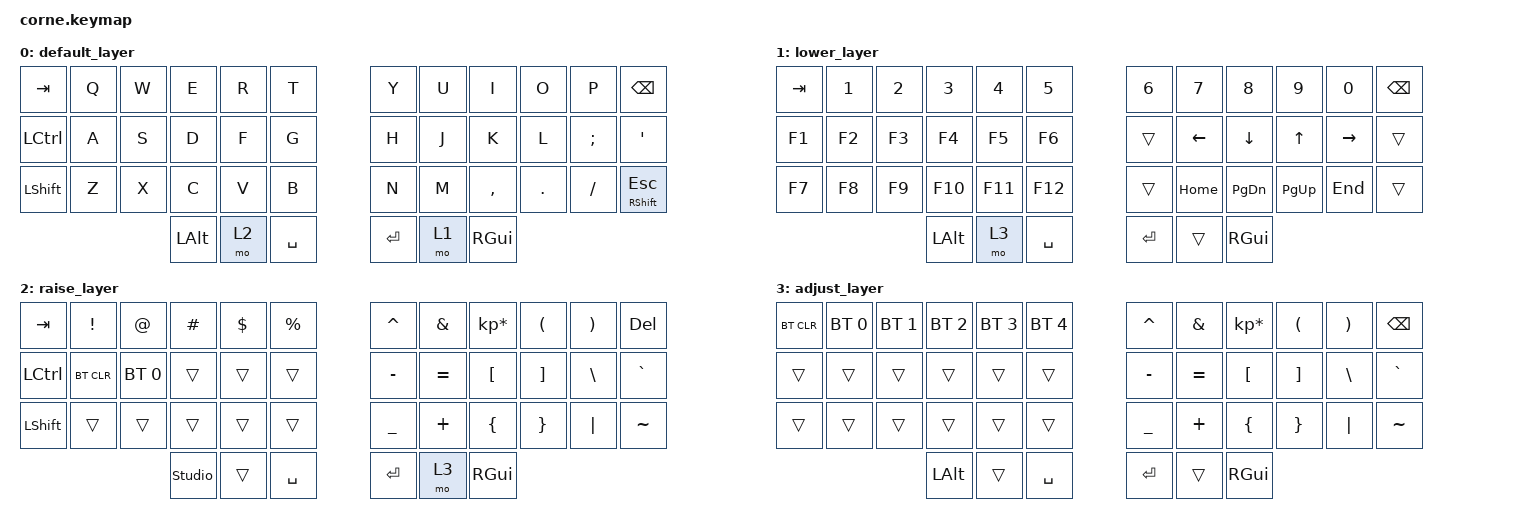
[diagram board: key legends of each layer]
/*
* Copyright (c) 2020 The ZMK Contributors
*
* SPDX-License-Identifier: MIT
*/

#include <behaviors.dtsi>
#include <dt-bindings/zmk/keys.h>
#include <dt-bindings/zmk/bt.h>

/ {
	keymap {
		compatible = "zmk,keymap";
		
		default_layer {
			
                        /*
                         * Keymap Layout:
                         * 
                         * Layer 0 (Base Layer):
                         * ┌───────────┬─────┬─────┬─────┬─────┬─────┐             ┌─────┬─────┬─────┬─────┬─────┬───────────┐
                         * │           │ TAB │  Q  │  W  │  E  │  R  │             │  T  │  Y  │  U  │  I  │  O  │  BACKSPACE │
                         * ├───────────┼─────┼─────┼─────┼─────┼─────┤             ├─────┼─────┼─────┼─────┼─────┼───────────┤
                         * │ Left Ctrl │  A  │  S  │  D  │  F  │  G  │             │  H  │  J  │  K  │  L  │  ;  │     '     │
                         * ├───────────┼─────┼─────┼─────┼─────┼─────┤             ├─────┼─────┼─────┼─────┼─────┼───────────┤
                         * │ Left Shift│  Z  │  X  │  C  │  V  │  B  │             │  N  │  M  │  ,  │  .  │  /  │ RShift+ESC │
                         * ├───────────┼─────┼─────┼─────────────────┤             ├─────────────────┼─────┼─────┼───────────┤
                         * │ Left Alt  │ MO2 │           SPACE       │             │  RET │ MO1 │ RGUI │
                         * └───────────┴─────┴───────────────────────┘             └─────────────────┴─────┴─────┘
                         * 
                         * Legend:
                         * - `&kp <key>`: Sends a key press for the specified key.
                         * - `&mo <layer>`: Momentarily activates the specified layer while held.
                         * - `&mt <mod> <key>`: Sends the key when tapped, or acts as the modifier when held.
                         */
			bindings = <
			&kp TAB   &kp Q &kp W &kp E &kp R &kp T   &kp Y &kp U  &kp I     &kp O   &kp P    &kp BSPC
			&kp LCTRL &kp A &kp S &kp D &kp F &kp G   &kp H &kp J  &kp K     &kp L   &kp SEMI &kp SQT
			&kp LSHFT &kp Z &kp X &kp C &kp V &kp B   &kp N &kp M  &kp COMMA &kp DOT &kp FSLH &mt RSHIFT ESC
			&kp LALT &mo 2 &kp SPACE   &kp RET &mo 1 &kp RIGHT_GUI
			>;
		};
                /*
                 * Keymap Layer: Lower Layer
                 * This layer is designed for a split Corne (CRKBD) keyboard.
                 * 
                 * Layer Layout:
                 * ┌─────┬─────┬─────┬─────┬─────┬─────┐             ┌─────┬─────┬─────┬─────┬─────┬─────┐
                 * │ TAB │  1  │  2  │  3  │  4  │  5  │             │  6  │  7  │  8  │  9  │  0  │ BSPC│
                 * ├─────┼─────┼─────┼─────┼─────┼─────┤             ├─────┼─────┼─────┼─────┼─────┼─────┤
                 * │ F1  │ F2  │ F3  │ F4  │ F5  │ F6  │             │     │LEFT │DOWN │ UP  │RIGHT│     │
                 * ├─────┼─────┼─────┼─────┼─────┼─────┤             ├─────┼─────┼─────┼─────┼─────┼─────┤
                 * │ F7  │ F8  │ F9  │ F10 │ F11 │ F12 │             │     │HOME │PGDN │PGUP │ END │     │
                 * ├─────┼─────┼─────┼─────────────────┤             ├─────────────────┼─────┼─────┼─────┤
                 * │ LALT│ MO3 │         SPACE         │             │  RET│     │     │
                 * └─────┴─────┴───────────────────────┘             └─────────────────┴─────┴─────┘
                 * 
                 * Notes:
                 * - The `trans` keyword represents a transparent key, which falls through to the lower layer.
                 * - The `mo 3` key activates Layer 3 momentarily while held.
                 * - This layout is optimized for navigation and function key access on the lower layer.
                 */
		lower_layer {
			
			bindings = <
			&kp TAB    &kp N1       &kp N2       &kp N3       &kp N4       &kp N5         &kp N6   &kp N7   &kp N8     &kp N9    &kp N0     &kp BSPC
			&kp F1     &kp F2       &kp F3       &kp F4       &kp F5       &kp F6         &trans   &kp LEFT &kp DOWN   &kp UP    &kp RIGHT  &trans
			&kp F7     &kp F8       &kp F9       &kp F10      &kp F11      &kp F12        &trans   &kp HOME &kp PG_DN  &kp PG_UP &kp END    &trans
			&kp LALT     &mo 3        &kp SPACE       &kp RET  &trans   &kp RIGHT_GUI
			>;
		};
		
                /*
                 * Raise Layer Keymap for Split Corne Keyboard (CRKBD)
                 *
                 * ┌───────┬───────┬───────┬───────┬───────┬───────┐            ┌───────┬───────┬───────┬───────┬───────┬───────┐
                 * │  TAB  │   !   │   @   │   #   │   $   │   %   │            │   ^   │   &   │   *   │   (   │   )   │  DEL  │
                 * ├───────┼───────┼───────┼───────┼───────┼───────┤            ├───────┼───────┼───────┼───────┼───────┼───────┤
                 * │ LCTRL │ BTCLR │ BTSEL0│       │       │       │            │   -   │   =   │   [   │   ]   │   \   │   `   │
                 * ├───────┼───────┼───────┼───────┼───────┼───────┤            ├───────┼───────┼───────┼───────┼───────┼───────┤
                 * │ LSHFT │       │       │       │       │       │            │   _   │   +   │   {   │   }   │   |   │   ~   │
                 * ├───────┴───────┴───────┼───────┼───────┼───────┤            ├───────┼───────┼───────┴───────┴───────┴───────┤
                 * │      Studio Unlock    │ SPACE │  RET  │ MO(3) │            │ RGUI  │
                 * └────────────────────────┴───────┴───────┴───────┘            └───────┘
                 *
                 * Legend:
                 * - BTCLR: Clear Bluetooth pairing
                 * - BTSEL0: Select Bluetooth profile 0
                 * - Studio Unlock: Custom key action (likely specific to your setup)
                 * - MO(3): Momentary switch to layer 3
                 * - RGUI: Right GUI (Windows/Command) key
                 */
		raise_layer {
			
			bindings = <
			&kp  TAB  &kp EXCL &kp AT &kp HASH &kp DLLR &kp PRCNT   &kp CARET &kp AMPS  &kp KP_MULTIPLY &kp LPAR &kp RPAR &kp DEL
			&kp LCTRL &bt BT_CLR  &bt BT_SEL 0 &trans   &trans   &trans      &kp MINUS &kp EQUAL &kp LBKT        &kp RBKT &kp BSLH &kp GRAVE
			&kp LSHFT &trans   &trans &trans   &trans   &trans      &kp UNDER &kp PLUS  &kp LBRC        &kp RBRC &kp PIPE &kp TILDE
			&studio_unlock &trans   &kp SPACE   &kp RET   &mo 3     &kp RIGHT_GUI
			>;
		};
		
                /*
                 * Keymap for the adjust_layer on a split Corne (crkbd) keyboard.
                 * This layer is typically used for system adjustments, Bluetooth controls, and special characters.
                 * 
                 * Layout:
                 * 
                 * ┌──────────┬──────────┬──────────┬──────────┬──────────┬──────────┐             ┌──────────┬──────────┬──────────┬──────────┬──────────┬──────────┐
                 * │ &bt BT_CLR │ &bt BT_SEL 0 │ &bt BT_SEL 1 │ &bt BT_SEL 2 │ &bt BT_SEL 3 │ &bt BT_SEL 4 │             │ &kp CARET│ &kp AMPS │ &kp KP_MULTIPLY │ &kp LPAR │ &kp RPAR │ &kp BSPC │
                 * ├──────────┼──────────┼──────────┼──────────┼──────────┼──────────┤             ├──────────┼──────────┼──────────┼──────────┼──────────┼──────────┤
                 * │ &trans    │ &trans    │ &trans    │ &trans    │ &trans    │ &trans    │             │ &kp MINUS│ &kp EQUAL│ &kp LBKT │ &kp RBKT │ &kp BSLH │ &kp GRAVE │
                 * ├──────────┼──────────┼──────────┼──────────┼──────────┼──────────┤             ├──────────┼──────────┼──────────┼──────────┼──────────┼──────────┤
                 * │ &trans    │ &trans    │ &trans    │ &trans    │ &trans    │ &trans    │             │ &kp UNDER│ &kp PLUS │ &kp LBRC │ &kp RBRC │ &kp PIPE │ &kp TILDE │
                 * ├──────────┼──────────┼──────────┼──────────┼──────────┼──────────┤             ├──────────┼──────────┼──────────┼──────────┼──────────┼──────────┤
                 * │ &kp LALT  │ &trans    │ &kp SPACE│ &kp RET  │ &trans    │ &kp RIGHT_GUI │             │ &kp LALT │ &trans    │ &kp SPACE│ &kp RET  │ &trans    │ &kp RIGHT_GUI │
                 * └──────────┴──────────┴──────────┴──────────┴──────────┴──────────┘             └──────────┴──────────┴──────────┴──────────┴──────────┴──────────┘
                 * 
                 * Notes:
                 * - The left-hand side contains Bluetooth controls for clearing and selecting devices.
                 * - The right-hand side contains special characters and navigation keys.
                 * - The bottom row includes modifiers and space/enter keys for both hands.
                 */
		adjust_layer {
			
			bindings = <
			&bt BT_CLR       &bt BT_SEL 0      &bt BT_SEL 1    &bt BT_SEL 2      &bt BT_SEL 3     &bt BT_SEL 4 &kp CARET &kp AMPS  &kp KP_MULTIPLY &kp LPAR &kp RPAR &kp BSPC
			&trans           &trans            &trans          &trans            &trans           &trans      &kp MINUS &kp EQUAL &kp LBKT        &kp RBKT &kp BSLH &kp GRAVE
			&trans           &trans            &trans          &trans            &trans           &trans      &kp UNDER &kp PLUS  &kp LBRC        &kp RBRC &kp PIPE &kp TILDE
			&kp LALT &trans   &kp SPACE   &kp RET   &trans    &kp RIGHT_GUI
			>;
		};
	};
};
